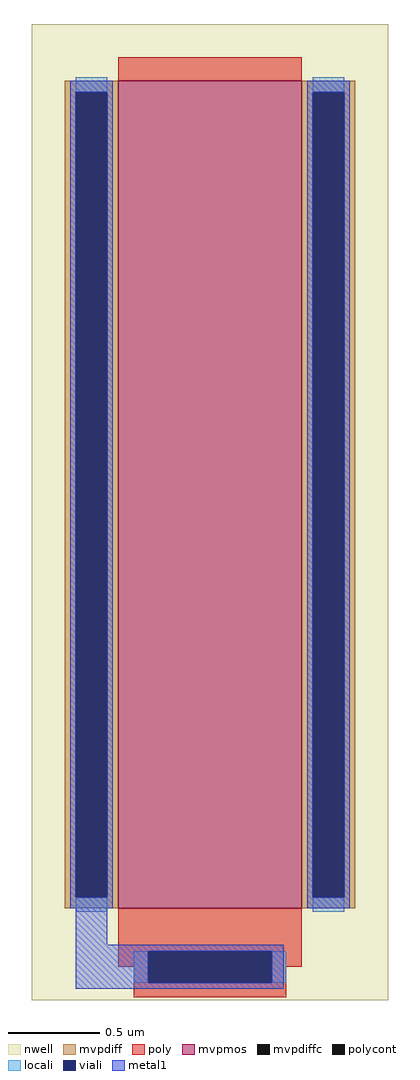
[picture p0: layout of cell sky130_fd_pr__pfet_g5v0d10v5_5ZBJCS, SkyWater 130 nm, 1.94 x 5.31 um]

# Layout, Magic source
magic
tech sky130A
magscale 1 2
<< nwell >>
rect -194 -514 194 548
<< mvpmos >>
rect -100 -414 100 486
<< mvpdiff >>
rect -158 474 -100 486
rect -158 -402 -146 474
rect -112 -402 -100 474
rect -158 -414 -100 -402
rect 100 474 158 486
rect 100 -402 112 474
rect 146 -402 158 474
rect 100 -414 158 -402
<< mvpdiffc >>
rect -146 -402 -112 474
rect 112 -402 146 474
<< poly >>
rect -100 486 100 512
rect -100 -461 100 -414
rect -100 -478 -67 -461
rect -83 -495 -67 -478
rect 67 -478 100 -461
rect 67 -495 83 -478
rect -83 -511 83 -495
<< polycont >>
rect -67 -495 67 -461
<< locali >>
rect -146 474 -112 490
rect -146 -418 -112 -402
rect 112 474 146 490
rect 112 -418 146 -402
rect -83 -495 -67 -461
rect 67 -495 83 -461
<< viali >>
rect -146 -402 -112 474
rect 112 -402 146 474
rect -67 -495 67 -461
<< metal1 >>
rect -152 474 -106 486
rect -152 -402 -146 474
rect -112 -402 -106 474
rect -152 -414 -106 -402
rect 106 474 152 486
rect 106 -402 112 474
rect 146 -402 152 474
rect 106 -414 152 -402
rect -146 -454 -112 -414
rect -146 -461 80 -454
rect -146 -495 -67 -461
rect 67 -495 80 -461
rect -146 -502 80 -495
<< properties >>
string gencell sky130_fd_pr__pfet_g5v0d10v5
string library sky130
string parameters w 4.5 l 1 m 1 nf 1 diffcov 100 polycov 80 guard 0 glc 1 grc 1 gtc 1 gbc 1 tbcov 100 rlcov 100 topc 0 botc 1 poverlap 0 doverlap 1 lmin 0.50 wmin 0.42 class mosfet compatible {sky130_fd_pr__pfet_01v8  sky130_fd_pr__pfet_01v8_lvt sky130_fd_pr__pfet_01v8_hvt  sky130_fd_pr__pfet_g5v0d10v5} full_metal 1 viasrc 100 viadrn 100 viagate 80 viagb 0 viagr 0 viagl 0 viagt 0
<< end >>
